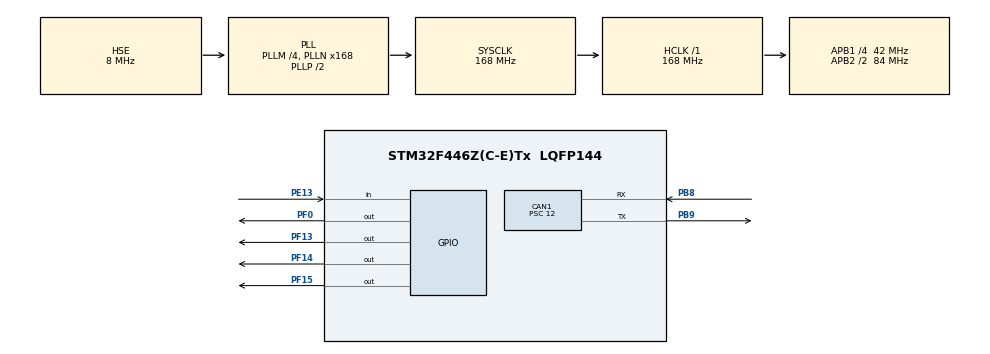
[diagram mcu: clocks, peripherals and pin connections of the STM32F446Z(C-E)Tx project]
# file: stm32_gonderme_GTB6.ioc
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CAN1.BS1=CAN_BS1_11TQ
CAN1.BS2=CAN_BS2_2TQ
CAN1.CalculateBaudRate=250000
CAN1.CalculateTimeBit=4000
CAN1.CalculateTimeQuantum=285.7142857142857
CAN1.Prescaler=12
Mcu.Family=STM32F4
Mcu.Name=STM32F446Z(C-E)Tx
Mcu.Package=LQFP144
NVIC.CAN1_RX0_IRQn=true\:0\:1\:false\:false\:true\:true\:true\:true
NVIC.PriorityGroup=NVIC_PRIORITYGROUP_0
PA13.Mode=Serial_Wire
PA13.Signal=SYS_JTMS-SWDIO
PA14.Mode=Serial_Wire
PA14.Signal=SYS_JTCK-SWCLK
PB8.Mode=CAN_Activate
PB8.Signal=CAN1_RX
PB9.Mode=CAN_Activate
PB9.Signal=CAN1_TX
PE13.Signal=GPIO_Input
PF0.Signal=GPIO_Output
PF13.Signal=GPIO_Output
PF14.Signal=GPIO_Output
PF15.Signal=GPIO_Output
PH0-OSC_IN.Mode=HSE-External-Oscillator
PH0-OSC_IN.Signal=RCC_OSC_IN
PH1-OSC_OUT.Mode=HSE-External-Oscillator
PH1-OSC_OUT.Signal=RCC_OSC_OUT
ProjectManager.HeapSize=0x200
ProjectManager.StackSize=0x400
ProjectManager.TargetToolchain=STM32CubeIDE
RCC.AHBFreq_Value=168000000
RCC.APB1CLKDivider=RCC_HCLK_DIV4
RCC.APB1Freq_Value=42000000
RCC.APB1TimFreq_Value=84000000
RCC.APB2CLKDivider=RCC_HCLK_DIV2
RCC.APB2Freq_Value=84000000
RCC.APB2TimFreq_Value=168000000
RCC.CortexFreq_Value=168000000
RCC.HCLKFreq_Value=168000000
RCC.HSE_VALUE=8000000
RCC.PLLM=4
RCC.PLLN=168
RCC.PLLSourceVirtual=RCC_PLLSOURCE_HSE
RCC.SYSCLKFreq_VALUE=168000000
RCC.SYSCLKSource=RCC_SYSCLKSOURCE_PLLCLK
RCC.USBFreq_Value=168000000
RCC.VCOOutputFreq_Value=336000000
board=custom

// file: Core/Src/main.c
/* USER CODE BEGIN Header */
/**
  ******************************************************************************
  * @file           : main.c
  * @brief          : Main program body
  ******************************************************************************
  * @attention
  *
  * Copyright (c) 2024 STMicroelectronics.
  * All rights reserved.
  *
  * This software is licensed under terms that can be found in the LICENSE file
  * in the root directory of this software component.
  * If no LICENSE file comes with this software, it is provided AS-IS.
  *
  ******************************************************************************
  */
/* USER CODE END Header */
#include "main.h"

/* USER CODE BEGIN PD */
CAN_FilterTypeDef sFilterConfig;
/* USER CODE END PD */

CAN_HandleTypeDef hcan1;

void SystemClock_Config(void);
static void MX_GPIO_Init(void);
static void MX_CAN1_Init(void);

/* USER CODE BEGIN 0 */
CAN_TxHeaderTypeDef pTxHeader;
CAN_RxHeaderTypeDef pRxHeader;

unsigned char TxData[8];
unsigned char RxData[8];
unsigned char digital_output;
uint32_t TxMailBox;

/* USER CODE END 0 */

int main(void)
{

  /* MCU Configuration--------------------------------------------------------*/

  /* Reset of all peripherals, Initializes the Flash interface and the Systick. */
  HAL_Init();

  /* Configure the system clock */
  SystemClock_Config();

  /* Initialize all configured peripherals */
  MX_GPIO_Init();
  MX_CAN1_Init();
  /* USER CODE BEGIN 2 */
	HAL_CAN_Start(&hcan1);
    // Activate interrupt
    HAL_CAN_ActivateNotification(&hcan1, CAN_IT_RX_FIFO0_MSG_PENDING);
//	  // set filter parameter
  if (HAL_CAN_ActivateNotification(&hcan1, CAN_IT_RX_FIFO0_MSG_PENDING) != HAL_OK)
    {
      Error_Handler();
    }
    sFilterConfig.FilterBank = 0;
    sFilterConfig.FilterMode = CAN_FILTERMODE_IDMASK;
    sFilterConfig.FilterScale = CAN_FILTERSCALE_32BIT;
    sFilterConfig.FilterIdHigh = 0x0000;
    sFilterConfig.FilterIdLow = 0x0000 ;
    sFilterConfig.FilterMaskIdHigh =0x0000; // 0xFFF0- 0x0150 dersek yine aynı şeyi yapar
    sFilterConfig.FilterMaskIdLow = 0x0000;
    sFilterConfig.FilterFIFOAssignment = CAN_RX_FIFO0;
    sFilterConfig.FilterActivation = ENABLE;
    HAL_CAN_ActivateNotification(&hcan1, CAN_IT_RX_FIFO0_MSG_PENDING);
    if (HAL_CAN_ConfigFilter(&hcan1, &sFilterConfig) != HAL_OK)
    {
      Error_Handler();
    }

	pRxHeader.StdId=0x0000;
	pRxHeader.DLC=8;
	pRxHeader.IDE=CAN_ID_STD;
	pRxHeader.RTR=CAN_RTR_DATA;

	pTxHeader.StdId= 0x0000;// 0x07E1
	pTxHeader.DLC=8;
	pTxHeader.IDE=CAN_ID_STD;
	pTxHeader.RTR = CAN_RTR_DATA;

	HAL_CAN_ConfigFilter(&hcan1, &sFilterConfig);

  /* USER CODE END 2 */

  /* Infinite loop */
  while (1)
  {

    /* USER CODE BEGIN 3 */

	  digital_output=HAL_GPIO_ReadPin(GPIOE, GPIO_PIN_13);
	  if(digital_output ==1)
	  {
		  HAL_CAN_AddTxMessage(&hcan1, &pTxHeader, TxData, &TxMailBox);
		  TxData[0] = 0x25;
		  TxData[1] = 0x40;
		  TxData[2] = 0x70;
		  TxData[3] = 0x51;
		  TxData[4] = 0x21;
		  TxData[5] = 0x11;
		  TxData[6] = 0x34;
		  TxData[7] = 0x01;//sensor_time * .034 /2
		  HAL_GPIO_WritePin(GPIOF, GPIO_PIN_0, GPIO_PIN_SET);
		  HAL_Delay(100);
		  HAL_GPIO_WritePin(GPIOF, GPIO_PIN_0, GPIO_PIN_RESET);
		  HAL_Delay(100);
	  }else{
			HAL_CAN_AddTxMessage(&hcan1, &pTxHeader, TxData, &TxMailBox);

			TxData[0] = 0x00;
			TxData[1] = 0x00;
			TxData[2] = 0x00;
			TxData[3] = 0x00;
			TxData[4] = 0x00;
			TxData[5] = 0x00;
			TxData[6] = 0x00;
			TxData[7] = 0x00;//sensor_time * .034 /2;
			HAL_GPIO_WritePin(GPIOF, GPIO_PIN_0, GPIO_PIN_RESET);
	  }

	  //***************************
	  // gelen veri ile toggle yapma

//      TxData=HAL_GPIO_ReadPin(GPIOE, GPIO_PIN_13);
//      if(TxData==1){
//    	  HAL_GPIO_TogglePin(GPIOF, GPIO_PIN_0);
//      }else{
//    	  HAL_GPIO_WritePin(GPIOF, GPIO_PIN_0, GPIO_PIN_RESET);
//      }
	  //***************************
  }
  /* USER CODE END 3 */
}

void SystemClock_Config(void)
{
  RCC_OscInitTypeDef RCC_OscInitStruct = {0};
  RCC_ClkInitTypeDef RCC_ClkInitStruct = {0};

  /** Configure the main internal regulator output voltage
  */
  __HAL_RCC_PWR_CLK_ENABLE();
  __HAL_PWR_VOLTAGESCALING_CONFIG(PWR_REGULATOR_VOLTAGE_SCALE1);

  /** Initializes the RCC Oscillators according to the specified parameters
  * in the RCC_OscInitTypeDef structure.
  */
  RCC_OscInitStruct.OscillatorType = RCC_OSCILLATORTYPE_HSE;
  RCC_OscInitStruct.HSEState = RCC_HSE_ON;
  RCC_OscInitStruct.PLL.PLLState = RCC_PLL_ON;
  RCC_OscInitStruct.PLL.PLLSource = RCC_PLLSOURCE_HSE;
  RCC_OscInitStruct.PLL.PLLM = 4;
  RCC_OscInitStruct.PLL.PLLN = 168;
  RCC_OscInitStruct.PLL.PLLP = RCC_PLLP_DIV2;
  RCC_OscInitStruct.PLL.PLLQ = 2;
  RCC_OscInitStruct.PLL.PLLR = 2;
  if (HAL_RCC_OscConfig(&RCC_OscInitStruct) != HAL_OK)
  {
    Error_Handler();
  }

  /** Initializes the CPU, AHB and APB buses clocks
  */
  RCC_ClkInitStruct.ClockType = RCC_CLOCKTYPE_HCLK|RCC_CLOCKTYPE_SYSCLK
                              |RCC_CLOCKTYPE_PCLK1|RCC_CLOCKTYPE_PCLK2;
  RCC_ClkInitStruct.SYSCLKSource = RCC_SYSCLKSOURCE_PLLCLK;
  RCC_ClkInitStruct.AHBCLKDivider = RCC_SYSCLK_DIV1;
  RCC_ClkInitStruct.APB1CLKDivider = RCC_HCLK_DIV4;
  RCC_ClkInitStruct.APB2CLKDivider = RCC_HCLK_DIV2;

  if (HAL_RCC_ClockConfig(&RCC_ClkInitStruct, FLASH_LATENCY_5) != HAL_OK)
  {
    Error_Handler();
  }
}

static void MX_CAN1_Init(void)
{

  hcan1.Instance = CAN1;
  hcan1.Init.Prescaler = 12;
  hcan1.Init.Mode = CAN_MODE_NORMAL;
  hcan1.Init.SyncJumpWidth = CAN_SJW_1TQ;
  hcan1.Init.TimeSeg1 = CAN_BS1_11TQ;
  hcan1.Init.TimeSeg2 = CAN_BS2_2TQ;
  hcan1.Init.TimeTriggeredMode = DISABLE;
  hcan1.Init.AutoBusOff = DISABLE;
  hcan1.Init.AutoWakeUp = DISABLE;
  hcan1.Init.AutoRetransmission = DISABLE;
  hcan1.Init.ReceiveFifoLocked = DISABLE;
  hcan1.Init.TransmitFifoPriority = DISABLE;
  if (HAL_CAN_Init(&hcan1) != HAL_OK)
  {
    Error_Handler();
  }

}

static void MX_GPIO_Init(void)
{
  GPIO_InitTypeDef GPIO_InitStruct = {0};

  /* GPIO Ports Clock Enable */
  __HAL_RCC_GPIOF_CLK_ENABLE();
  __HAL_RCC_GPIOH_CLK_ENABLE();
  __HAL_RCC_GPIOE_CLK_ENABLE();
  __HAL_RCC_GPIOA_CLK_ENABLE();
  __HAL_RCC_GPIOB_CLK_ENABLE();

  /*Configure GPIO pin Output Level */
  HAL_GPIO_WritePin(GPIOF, GPIO_PIN_0|GPIO_PIN_13|GPIO_PIN_14|GPIO_PIN_15, GPIO_PIN_RESET);

  /*Configure GPIO pins : PF0 PF13 PF14 PF15 */
  GPIO_InitStruct.Pin = GPIO_PIN_0|GPIO_PIN_13|GPIO_PIN_14|GPIO_PIN_15;
  GPIO_InitStruct.Mode = GPIO_MODE_OUTPUT_PP;
  GPIO_InitStruct.Pull = GPIO_NOPULL;
  GPIO_InitStruct.Speed = GPIO_SPEED_FREQ_LOW;
  HAL_GPIO_Init(GPIOF, &GPIO_InitStruct);

  /*Configure GPIO pin : PE13 */
  GPIO_InitStruct.Pin = GPIO_PIN_13;
  GPIO_InitStruct.Mode = GPIO_MODE_INPUT;
  GPIO_InitStruct.Pull = GPIO_NOPULL;
  HAL_GPIO_Init(GPIOE, &GPIO_InitStruct);

}

/* USER CODE BEGIN 4 */
void HAL_CAN_RxFifo0MsgPendingCallback(CAN_HandleTypeDef *hcan1)
{

}
/* USER CODE END 4 */

void Error_Handler(void)
{
  __disable_irq();
  while (1)
  {
  }
}
